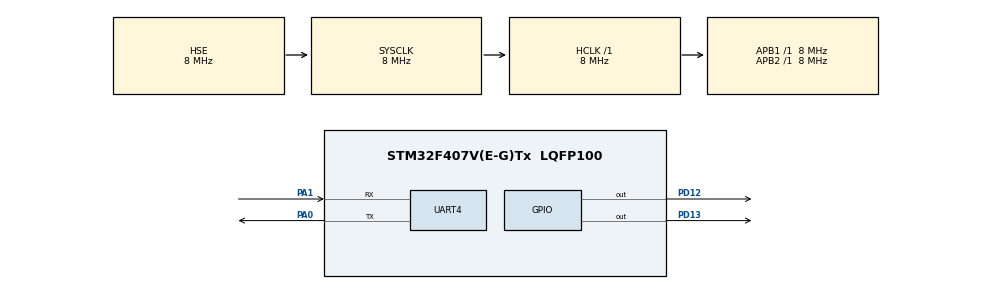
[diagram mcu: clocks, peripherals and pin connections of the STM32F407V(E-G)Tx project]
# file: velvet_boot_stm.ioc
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IWDG.Prescaler=IWDG_PRESCALER_256
Mcu.Family=STM32F4
Mcu.Name=STM32F407V(E-G)Tx
Mcu.Package=LQFP100
NVIC.PriorityGroup=NVIC_PRIORITYGROUP_4
PA0-WKUP.Mode=Asynchronous
PA0-WKUP.Signal=UART4_TX
PA1.Mode=Asynchronous
PA1.Signal=UART4_RX
PA13.Mode=Serial_Wire
PA13.Signal=SYS_JTMS-SWDIO
PA14.Mode=Serial_Wire
PA14.Signal=SYS_JTCK-SWCLK
PD12.Signal=GPIO_Output
PD13.Signal=GPIO_Output
PH0-OSC_IN.Mode=HSE-External-Oscillator
PH0-OSC_IN.Signal=RCC_OSC_IN
PH1-OSC_OUT.Mode=HSE-External-Oscillator
PH1-OSC_OUT.Signal=RCC_OSC_OUT
ProjectManager.HeapSize=0x200
ProjectManager.StackSize=0x400
ProjectManager.TargetToolchain=MDK-ARM V5.32
RCC.48MHZClocksFreq_Value=24000000
RCC.AHBFreq_Value=8000000
RCC.APB1Freq_Value=8000000
RCC.APB1TimFreq_Value=8000000
RCC.APB2Freq_Value=8000000
RCC.APB2TimFreq_Value=8000000
RCC.CortexFreq_Value=8000000
RCC.HCLKFreq_Value=8000000
RCC.HSE_VALUE=8000000
RCC.HSI_VALUE=16000000
RCC.LSE_VALUE=32768
RCC.PLLSourceVirtual=RCC_PLLSOURCE_HSE
RCC.SYSCLKFreq_VALUE=8000000
RCC.SYSCLKSource=RCC_SYSCLKSOURCE_HSE
RCC.VCOOutputFreq_Value=96000000
UART4.VirtualMode=Asynchronous
VP_IWDG_VS_IWDG.Mode=IWDG_Activate
board=custom

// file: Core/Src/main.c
/* USER CODE BEGIN Header */
/**
  ******************************************************************************
  * @file           : main.c
  * @brief          : Main program body
  ******************************************************************************
  * @attention
  *
  * Copyright (c) 2023 STMicroelectronics.
  * All rights reserved.
  *
  * This software is licensed under terms that can be found in the LICENSE file
  * in the root directory of this software component.
  * If no LICENSE file comes with this software, it is provided AS-IS.
  *
  ******************************************************************************
  */
/* USER CODE END Header */
#include "main.h"

/* USER CODE BEGIN Includes */
#include "const.h"
#include "firmware.h"
/* USER CODE END Includes */

IWDG_HandleTypeDef hiwdg;

UART_HandleTypeDef huart4;

void SystemClock_Config(void);
static void MX_GPIO_Init(void);
static void MX_IWDG_Init(void);
static void MX_UART4_Init(void);
/* USER CODE BEGIN PFP */
void GoToApplication(void);
/* USER CODE END PFP */

int main(void)
{

  /* MCU Configuration--------------------------------------------------------*/

  /* Reset of all peripherals, Initializes the Flash interface and the Systick. */
  HAL_Init();

  /* Configure the system clock */
  SystemClock_Config();

  /* Initialize all configured peripherals */
  MX_GPIO_Init();
  MX_IWDG_Init();
  MX_UART4_Init();
  /* USER CODE BEGIN 2 */
	__HAL_DBGMCU_FREEZE_IWDG();
	updateFirmware();
  GoToApplication();
  /* USER CODE END 2 */

  /* Infinite loop */
  while (1)
  {

  }
}

void SystemClock_Config(void)
{
  RCC_OscInitTypeDef RCC_OscInitStruct = {0};
  RCC_ClkInitTypeDef RCC_ClkInitStruct = {0};

  /** Configure the main internal regulator output voltage
  */
  __HAL_RCC_PWR_CLK_ENABLE();
  __HAL_PWR_VOLTAGESCALING_CONFIG(PWR_REGULATOR_VOLTAGE_SCALE1);

  /** Initializes the RCC Oscillators according to the specified parameters
  * in the RCC_OscInitTypeDef structure.
  */
  RCC_OscInitStruct.OscillatorType = RCC_OSCILLATORTYPE_LSI|RCC_OSCILLATORTYPE_HSE;
  RCC_OscInitStruct.HSEState = RCC_HSE_ON;
  RCC_OscInitStruct.LSIState = RCC_LSI_ON;
  RCC_OscInitStruct.PLL.PLLState = RCC_PLL_NONE;
  if (HAL_RCC_OscConfig(&RCC_OscInitStruct) != HAL_OK)
  {
    Error_Handler();
  }

  /** Initializes the CPU, AHB and APB buses clocks
  */
  RCC_ClkInitStruct.ClockType = RCC_CLOCKTYPE_HCLK|RCC_CLOCKTYPE_SYSCLK
                              |RCC_CLOCKTYPE_PCLK1|RCC_CLOCKTYPE_PCLK2;
  RCC_ClkInitStruct.SYSCLKSource = RCC_SYSCLKSOURCE_HSE;
  RCC_ClkInitStruct.AHBCLKDivider = RCC_SYSCLK_DIV1;
  RCC_ClkInitStruct.APB1CLKDivider = RCC_HCLK_DIV1;
  RCC_ClkInitStruct.APB2CLKDivider = RCC_HCLK_DIV1;

  if (HAL_RCC_ClockConfig(&RCC_ClkInitStruct, FLASH_LATENCY_0) != HAL_OK)
  {
    Error_Handler();
  }
}

static void MX_IWDG_Init(void)
{

  hiwdg.Instance = IWDG;
  hiwdg.Init.Prescaler = IWDG_PRESCALER_256;
  hiwdg.Init.Reload = 4095;
  if (HAL_IWDG_Init(&hiwdg) != HAL_OK)
  {
    Error_Handler();
  }

}

static void MX_UART4_Init(void)
{

  huart4.Instance = UART4;
  huart4.Init.BaudRate = 115200;
  huart4.Init.WordLength = UART_WORDLENGTH_8B;
  huart4.Init.StopBits = UART_STOPBITS_1;
  huart4.Init.Parity = UART_PARITY_NONE;
  huart4.Init.Mode = UART_MODE_TX_RX;
  huart4.Init.HwFlowCtl = UART_HWCONTROL_NONE;
  huart4.Init.OverSampling = UART_OVERSAMPLING_16;
  if (HAL_UART_Init(&huart4) != HAL_OK)
  {
    Error_Handler();
  }

}

static void MX_GPIO_Init(void)
{
  GPIO_InitTypeDef GPIO_InitStruct = {0};

  /* GPIO Ports Clock Enable */
  __HAL_RCC_GPIOH_CLK_ENABLE();
  __HAL_RCC_GPIOA_CLK_ENABLE();
  __HAL_RCC_GPIOD_CLK_ENABLE();

  /*Configure GPIO pin Output Level */
  HAL_GPIO_WritePin(GPIOD, GPIO_PIN_12|GPIO_PIN_13, GPIO_PIN_RESET);

  /*Configure GPIO pins : PD12 PD13 */
  GPIO_InitStruct.Pin = GPIO_PIN_12|GPIO_PIN_13;
  GPIO_InitStruct.Mode = GPIO_MODE_OUTPUT_PP;
  GPIO_InitStruct.Pull = GPIO_NOPULL;
  GPIO_InitStruct.Speed = GPIO_SPEED_FREQ_LOW;
  HAL_GPIO_Init(GPIOD, &GPIO_InitStruct);

}

/* USER CODE BEGIN 4 */
void GoToApplication(void) {
  uint32_t appJumpAdress;
	appJumpAdress = *((volatile uint32_t*) (APP_START_ADDR + 4));

	HAL_RCC_DeInit();
	HAL_DeInit();

	void(*GoToApp)(void);
	GoToApp = (void (*) (void))appJumpAdress;

	__disable_irq();
	__set_MSP(*((volatile uint32_t*)APP_START_ADDR));
	GoToApp();
}
/* USER CODE END 4 */

void Error_Handler(void)
{
  __disable_irq();
  while (1)
  {
  }
}
